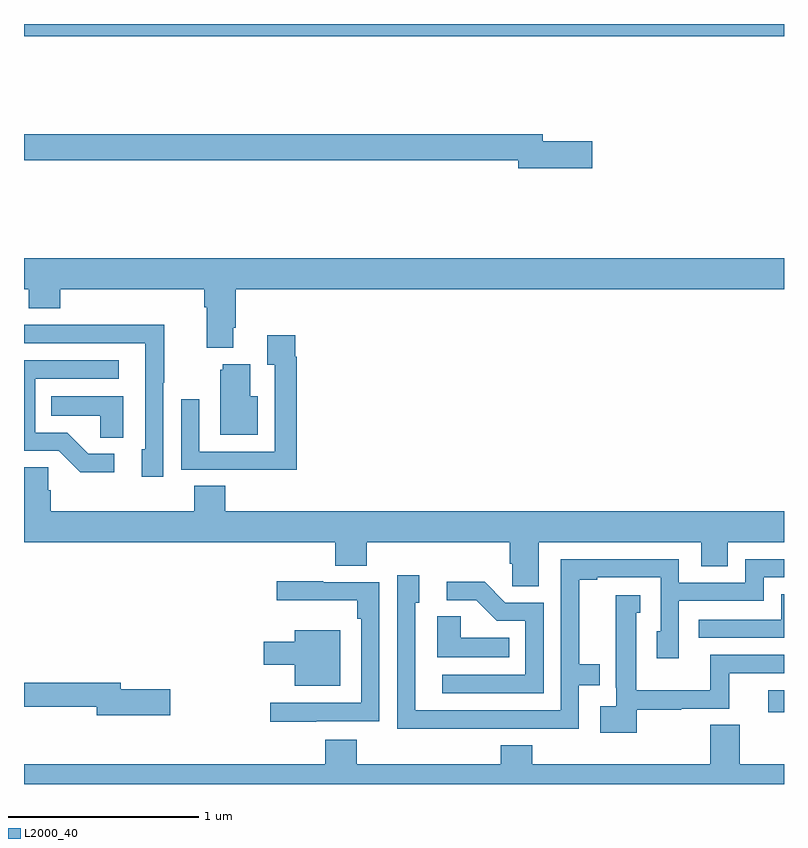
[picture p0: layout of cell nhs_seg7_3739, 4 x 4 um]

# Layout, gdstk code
import gdstk
lib = gdstk.Library(unit=1e-6, precision=1e-09)
def R(c, l, rs):  # rectangles x0, y0, x1, y1
    for r in rs: c.add(gdstk.rectangle(r[:2], r[2:], *l))
def P(c, l, *ps):  # polygons
    for p in ps: c.add(gdstk.Polygon(p, *l))
L2000_40 = (2000, 40)

nhs_seg7_3739 = lib.new_cell('nhs_seg7_3739')
R(nhs_seg7_3739, L2000_40, [(352.917,1010.378,353,1010.493), (349,1013.936,353,1014)])
P(nhs_seg7_3739, L2000_40, [(351.991,1013.384),(351.73,1013.384),(351.73,1013.42),(349,1013.42),(349,1013.284),(351.602,1013.284),(351.602,1013.242),(351.991,1013.242)],
  [(350.101,1012.402),(350.114,1012.402),(350.114,1012.604),(353,1012.604),(353,1012.768),(349,1012.768),(349,1012.604),(349.025,1012.604),(349.025,1012.505),(349.19,1012.505),(349.19,1012.604),(349.949,1012.604),(349.949,1012.508),(349.961,1012.508),(349.961,1012.295),(350.101,1012.295)],
  [(349.734,1012.111),(349.737,1012.111),(349.737,1012.418),(349.273,1012.418),(349.273,1012.416),(349,1012.416),(349,1012.32),(349.638,1012.32),(349.638,1011.762),(349.619,1011.762),(349.619,1011.618),(349.734,1011.618)],
  [(350.435,1012.25),(350.428,1012.25),(350.428,1012.363),(350.279,1012.363),(350.279,1012.207),(350.319,1012.207),(350.319,1011.75),(349.923,1011.75),(349.923,1012.024),(349.827,1012.024),(349.827,1011.654),(350.143,1011.654),(350.143,1011.653),(350.435,1011.653)],
  [(349.474,1011.738),(349.339,1011.738),(349.228,1011.849),(349.059,1011.849),(349.059,1012.134),(349.498,1012.134),(349.498,1012.23),(349,1012.23),(349,1011.753),(349.182,1011.753),(349.295,1011.641),(349.474,1011.641)],
  [(350.23,1012.042),(350.191,1012.042),(350.191,1012.21),(350.045,1012.21),(350.045,1012.179),(350.033,1012.179),(350.033,1011.839),(350.23,1011.839)],
  [(349.522,1012.042),(349.144,1012.042),(349.144,1011.938),(349.401,1011.938),(349.401,1011.823),(349.522,1011.823)],
  [(350.639,1011.148),(350.804,1011.148),(350.804,1011.272),(351.557,1011.272),(351.557,1011.16),(351.571,1011.16),(351.571,1011.04),(351.709,1011.04),(351.709,1011.272),(352.565,1011.272),(352.565,1011.145),(352.705,1011.145),(352.705,1011.272),(353,1011.272),(353,1011.436),(350.06,1011.436),(350.06,1011.569),(349.895,1011.569),(349.895,1011.436),(349.142,1011.436),(349.142,1011.545),(349.128,1011.545),(349.128,1011.668),(349,1011.668),(349,1011.272),(350.639,1011.272)],
  [(351.425,1010.292),(351.921,1010.292),(351.921,1010.52),(352.03,1010.52),(352.03,1010.629),(351.923,1010.629),(351.923,1011.075),(352.018,1011.075),(352.018,1011.087),(352.35,1011.087),(352.35,1010.805),(352.331,1010.805),(352.331,1010.661),(352.446,1010.661),(352.446,1010.964),(352.893,1010.964),(352.893,1011.087),(353,1011.087),(353,1011.183),(352.797,1011.183),(352.797,1011.06),(352.446,1011.06),(352.446,1011.183),(351.825,1011.183),(351.825,1010.388),(351.06,1010.388),(351.06,1010.955),(351.079,1010.955),(351.079,1011.1),(350.964,1011.1),(350.964,1010.291),(351.425,1010.291)],
  [(350.539,1010.331),(350.871,1010.331),(350.871,1011.063),(350.575,1011.063),(350.575,1011.067),(350.331,1011.067),(350.331,1010.966),(350.755,1010.966),(350.755,1010.87),(350.775,1010.87),(350.775,1010.427),(350.295,1010.427),(350.295,1010.327),(350.539,1010.327)],
  [(351.735,1010.955),(351.534,1010.955),(351.424,1011.065),(351.225,1011.065),(351.225,1010.967),(351.381,1010.967),(351.489,1010.859),(351.639,1010.859),(351.639,1010.574),(351.201,1010.574),(351.201,1010.478),(351.735,1010.478)],
  [(352.979,1010.77),(353,1010.77),(353,1010.998),(352.986,1010.998),(352.986,1010.865),(352.551,1010.865),(352.551,1010.769),(352.979,1010.769)],
  [(352.225,1010.392),(352.458,1010.392),(352.458,1010.397),(352.712,1010.397),(352.712,1010.583),(353,1010.583),(353,1010.679),(352.613,1010.679),(352.613,1010.494),(352.222,1010.494),(352.222,1010.901),(352.243,1010.901),(352.243,1010.994),(352.115,1010.994),(352.115,1010.506),(352.116,1010.506),(352.116,1010.41),(352.032,1010.41),(352.032,1010.27),(352.225,1010.27)],
  [(351.554,1010.77),(351.298,1010.77),(351.298,1010.882),(351.176,1010.882),(351.176,1010.666),(351.554,1010.666)],
  [(350.665,1010.809),(350.426,1010.809),(350.426,1010.749),(350.262,1010.749),(350.262,1010.627),(350.426,1010.627),(350.426,1010.516),(350.665,1010.516)],
  [(349.771,1010.498),(349.51,1010.498),(349.51,1010.534),(349,1010.534),(349,1010.406),(349.382,1010.406),(349.382,1010.363),(349.771,1010.363)],
  [(353,1010.104),(352.767,1010.104),(352.767,1010.312),(352.612,1010.312),(352.612,1010.104),(351.674,1010.104),(351.674,1010.203),(351.509,1010.203),(351.509,1010.104),(350.75,1010.104),(350.75,1010.233),(350.585,1010.233),(350.585,1010.104),(349,1010.104),(349,1010),(353,1010)])

lib.write_gds('nhs_seg7_3739.gds')
